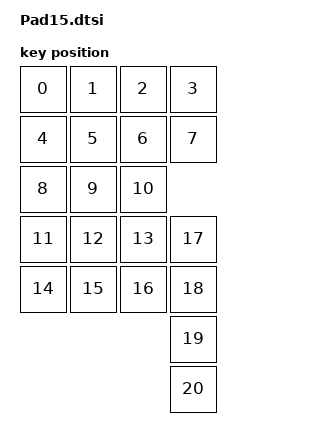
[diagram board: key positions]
#include <physical_layouts.dtsi>
#include <dt-bindings/zmk/matrix_transform.h>
#include <dt-bindings/led/led.h>

/ {
    chosen {
        zmk,kscan = &kscan0;
        zmk,physical-layout = &layout;
        zmk,underglow = &pad15_leds;
    };

    /* 1. 物理布局（visualizer 用） */
    layout: layout {
        compatible = "zmk,physical-layout";
        display-name = "Pad15";
        transform = <&transform>;
        kscan = <&kscan0>;               

        keys = <&key_physical_attrs 100 100    0    0       0     0     0>
               , <&key_physical_attrs 100 100  100    0       0     0     0>
               , <&key_physical_attrs 100 100  200    0       0     0     0>
               , <&key_physical_attrs 100 100  300    0       0     0     0>
               , <&key_physical_attrs 100 100    0  100       0     0     0>
               , <&key_physical_attrs 100 100  100  100       0     0     0>
               , <&key_physical_attrs 100 100  200  100       0     0     0>
               , <&key_physical_attrs 100 100  300  100       0     0     0>
               , <&key_physical_attrs 100 100    0  200       0     0     0>
               , <&key_physical_attrs 100 100  100  200       0     0     0>
               , <&key_physical_attrs 100 100  200  200       0     0     0>
               , <&key_physical_attrs 100 100    0  300       0     0     0>
               , <&key_physical_attrs 100 100  100  300       0     0     0>
               , <&key_physical_attrs 100 100  200  300       0     0     0>
               , <&key_physical_attrs 100 100    0  400       0     0     0>
               , <&key_physical_attrs 100 100  100  400       0     0     0>
               , <&key_physical_attrs 100 100  200  400       0     0     0>

               /* 4 个触摸键（第四列）*/
               , <&key_physical_attrs 100 100  300  300       0     0     0>
               , <&key_physical_attrs 100 100  300  400       0     0     0>
               , <&key_physical_attrs 100 100  300  500       0     0     0>
               , <&key_physical_attrs 100 100  300  600       0     0     0>
                ;
    };
};


/* WS2812 灯带 */
&pinctrl {
	spi3_default: spi3_default {
		group1 {
			psels = <NRF_PSEL(SPIM_MOSI, 0, 24)>;
		};
	};

	spi3_sleep: spi3_sleep {
		group1 {
			psels = <NRF_PSEL(SPIM_MOSI, 0, 24)>;
			low-power-enable;
		};
	};
};

&spi3 {
	compatible = "nordic,nrf-spim";
	status = "okay";
	pinctrl-0 = <&spi3_default>;
	pinctrl-1 = <&spi3_sleep>;
	pinctrl-names = "default", "sleep";

	pad15_leds: ws2812@0 {
		compatible = "worldsemi,ws2812-spi";
		reg = <0>;
		status = "okay";
		spi-max-frequency = <3000000>;
		chain-length = <16>;
		spi-one-frame = <0x70>;
		spi-zero-frame = <0x40>;
		color-mapping = <LED_COLOR_ID_GREEN LED_COLOR_ID_RED LED_COLOR_ID_BLUE>;
    
        /* 第一排 (y = 0) */
        led0: led_0 { x = <0>;   y = <0>; };
        led1: led_1 { x = <10>; y = <0>; };
        led2: led_2 { x = <20>; y = <0>; };
        
        /* 第二排 (y = 10) */
        led3: led_3 { x = <0>;   y = <10>; };
        led4: led_4 { x = <10>; y = <10>; };
        led5: led_5 { x = <20>; y = <10>; };
        
        /* 第三排 (y = 20) + 特殊的第 16 颗灯 */
        led6: led_6 { x = <0>;   y = <20>; };
        led7: led_7 { x = <10>; y = <20>; };
        led8: led_8 { x = <20>; y = <20>; };
        led15: led_15 { x = <30>; y = <20>; }; /* 第 16 颗：第三行第四列 */
        
        /* 第四排 (y = 30) */
        led9:  led_9  { x = <0>;   y = <30>; };
        led10: led_10 { x = <10>; y = <30>; };
        led11: led_11 { x = <20>; y = <30>; };
        
        /* 第五排 (y = 400) */
        led12: led_12 { x = <0>;   y = <40>; };
        led13: led_13 { x = <10>; y = <40>; };
        led14: led_14 { x = <20>; y = <40>; };
    };
};
